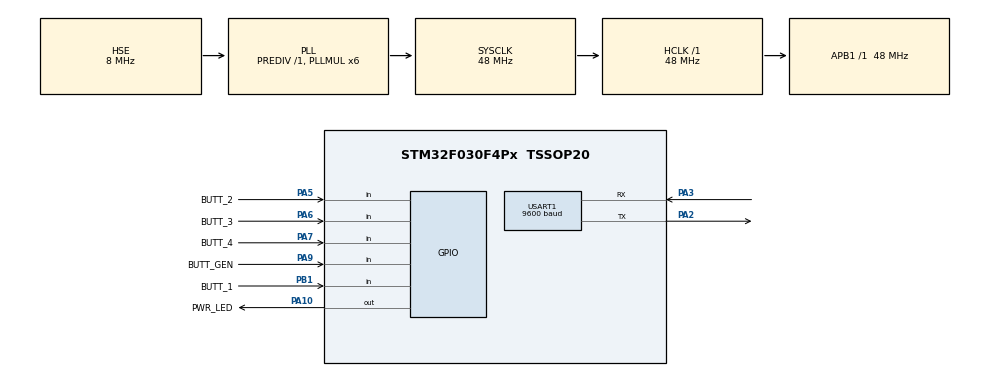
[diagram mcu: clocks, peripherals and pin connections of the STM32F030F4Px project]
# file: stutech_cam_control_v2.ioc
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Mcu.Family=STM32F0
Mcu.Name=STM32F030F4Px
Mcu.Package=TSSOP20
NVIC.TIM17_IRQn=true\:3\:0\:true\:false\:true\:true\:true\:true
NVIC.USART1_IRQn=true\:0\:0\:false\:false\:true\:true\:true\:true
PA10.GPIO_Label=PWR_LED
PA10.Signal=GPIO_Output
PA13.Mode=Serial_Wire
PA13.Signal=SYS_SWDIO
PA14.Mode=Serial_Wire
PA14.Signal=SYS_SWCLK
PA2.Mode=Asynchronous
PA2.Signal=USART1_TX
PA3.Mode=Asynchronous
PA3.Signal=USART1_RX
PA5.GPIO_Label=BUTT_2
PA5.GPIO_PuPd=GPIO_PULLUP
PA5.Signal=GPIO_Input
PA6.GPIO_Label=BUTT_3
PA6.GPIO_PuPd=GPIO_PULLUP
PA6.Signal=GPIO_Input
PA7.GPIO_Label=BUTT_4
PA7.GPIO_PuPd=GPIO_PULLUP
PA7.Signal=GPIO_Input
PA9.GPIO_Label=BUTT_GEN
PA9.GPIO_PuPd=GPIO_PULLUP
PA9.Signal=GPIO_Input
PB1.GPIO_Label=BUTT_1
PB1.GPIO_PuPd=GPIO_PULLUP
PB1.Signal=GPIO_Input
PF0-OSC_IN.Mode=HSE-External-Oscillator
PF0-OSC_IN.Signal=RCC_OSC_IN
PF1-OSC_OUT.Mode=HSE-External-Oscillator
PF1-OSC_OUT.Signal=RCC_OSC_OUT
ProjectManager.HeapSize=0x200
ProjectManager.StackSize=0x400
ProjectManager.TargetToolchain=STM32CubeIDE
RCC.AHBFreq_Value=48000000
RCC.APB1Freq_Value=48000000
RCC.APB1TimFreq_Value=48000000
RCC.HCLKFreq_Value=48000000
RCC.PLLMUL=RCC_PLL_MUL6
RCC.PLLSourceVirtual=RCC_PLLSOURCE_HSE
RCC.SYSCLKFreq_VALUE=48000000
RCC.SYSCLKSource=RCC_SYSCLKSOURCE_PLLCLK
TIM17.AutoReloadPreload=TIM_AUTORELOAD_PRELOAD_ENABLE
TIM17.ClockDivision=TIM_CLOCKDIVISION_DIV1
TIM17.Period=4469
TIM17.Prescaler=10
USART1.BaudRate=9600
USART1.VirtualMode-Asynchronous=VM_ASYNC
VP_TIM17_VS_ClockSourceINT.Mode=Enable_Timer
board=custom

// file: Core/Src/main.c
/* USER CODE BEGIN Header */
					/**
						******************************************************************************
						* @file					 : main.c
						* @brief					: Main program body
						******************************************************************************
						* @attention
						*
						* <h2><center>&copy; Copyright (c) 2020 STMicroelectronics.
						* All rights reserved.</center></h2>
						*
						* This software component is licensed by ST under BSD 3-Clause license,
						* the "License"; You may not use this file except in compliance with the
						* License. You may obtain a copy of the License at:
						*												opensource.org/licenses/BSD-3-Clause
						*
						******************************************************************************
						*/
/* USER CODE END Header */
#include "main.h"

/* USER CODE BEGIN Includes */
#include <string.h>
/* USER CODE END Includes */

TIM_HandleTypeDef htim17;

UART_HandleTypeDef huart1;

/* USER CODE BEGIN PV */
					const uint8_t pwron[6] =	{0x81,0x01,0x04,0x00,0x02,0xFF};//camera power on
					const uint8_t pwroff[6] = {0x81,0x01,0x04,0x00,0x03,0xFF};//camera power off
					const uint8_t cam1preset[7] = {0x81,0x01,0x04,0x3f,0x02,0x00,0xFF};//camera mem recall 01
					const uint8_t cam2preset[7] = {0x81,0x01,0x04,0x3f,0x02,0x01,0xFF};//camera mem recall 02
					const uint8_t cam3preset[7] = {0x81,0x01,0x04,0x3f,0x02,0x02,0xFF};//camera mem recall 03
					const uint8_t cam4preset[7] = {0x81,0x01,0x04,0x3f,0x02,0x03,0xFF};//camera mem recall 04
					const uint8_t autotrackon[7] = {0x81,0x01,0x0B,0x00,0x00,0x02,0xFF};//auto tracking on
					const uint8_t autotrackoff[7] = {0x81,0x01,0x0B,0x00,0x00,0x03,0xFF};//auto tracking off
					const uint8_t powerinquiry[5] = {0x81,0x09,0x04,0x00,0xFF};//camera mem recall 04
					int actgomb[5];
					int lastgomb[5];
					int prelltime = 10;
					int prelltimer = 0;
					uint8_t gomb0prell;
					uint8_t gomb3prell;
					uint8_t uartbuff[20];
					uint8_t uartbuf;
					uint8_t uartcount= 0;
					uint8_t ackflag,cpltflag,poweronflag,poweroffflag = 0;
					uint8_t villtimer = 0;
					int gomb0hosszutime,gomb4hosszutime = 0;
					int pwrtime = 0;
					uint8_t firston = 1;
/* USER CODE END PV */

void SystemClock_Config(void);
static void MX_GPIO_Init(void);
static void MX_USART1_UART_Init(void);
static void MX_TIM17_Init(void);
/* USER CODE BEGIN PFP */
					void readgomb(void);
/* USER CODE END PFP */

/* USER CODE BEGIN 0 */
					void readgomb(void)
					{
						actgomb[0] = HAL_GPIO_ReadPin(BUTT_1_GPIO_Port,BUTT_1_Pin);
						actgomb[1] = HAL_GPIO_ReadPin(BUTT_2_GPIO_Port,BUTT_2_Pin);
						actgomb[2] = HAL_GPIO_ReadPin(BUTT_3_GPIO_Port,BUTT_3_Pin);
						actgomb[3] = HAL_GPIO_ReadPin(BUTT_4_GPIO_Port,BUTT_4_Pin);
						actgomb[4] = HAL_GPIO_ReadPin(BUTT_GEN_GPIO_Port,BUTT_GEN_Pin);
					}
/* USER CODE END 0 */

int main(void)
{

  /* MCU Configuration--------------------------------------------------------*/

  /* Reset of all peripherals, Initializes the Flash interface and the Systick. */
  HAL_Init();

  /* Configure the system clock */
  SystemClock_Config();

  /* Initialize all configured peripherals */
  MX_GPIO_Init();
  MX_USART1_UART_Init();
  MX_TIM17_Init();
  /* USER CODE BEGIN 2 */
						HAL_TIM_Base_Start_IT(&htim17);
						HAL_UART_Receive_IT(&huart1,&uartbuf,1);
						readgomb();
						lastgomb[0] = actgomb[0];
						lastgomb[1] = actgomb[1];
						lastgomb[2] = actgomb[2];
						lastgomb[3] = actgomb[3];
						lastgomb[4] = actgomb[4];

						//bekapcs villogas
						HAL_GPIO_WritePin(PWR_LED_GPIO_Port,PWR_LED_Pin,GPIO_PIN_SET);
						HAL_Delay(200);
						HAL_GPIO_WritePin(PWR_LED_GPIO_Port,PWR_LED_Pin,GPIO_PIN_RESET);
						HAL_Delay(200);
						HAL_GPIO_WritePin(PWR_LED_GPIO_Port,PWR_LED_Pin,GPIO_PIN_SET);
						HAL_Delay(200);
						HAL_GPIO_WritePin(PWR_LED_GPIO_Port,PWR_LED_Pin,GPIO_PIN_RESET);
						HAL_Delay(200);
						HAL_GPIO_WritePin(PWR_LED_GPIO_Port,PWR_LED_Pin,GPIO_PIN_SET);
						HAL_Delay(200);
						HAL_GPIO_WritePin(PWR_LED_GPIO_Port,PWR_LED_Pin,GPIO_PIN_RESET);
  /* USER CODE END 2 */

  /* Infinite loop */
  /* USER CODE BEGIN WHILE */
						while (1)
						{
							if((poweronflag == 1)&&(villtimer == 0))
							{
								HAL_GPIO_WritePin(PWR_LED_GPIO_Port,PWR_LED_Pin,GPIO_PIN_SET);
								if(firston == 1)
								{
									HAL_UART_Transmit(&huart1,autotrackon,7,100);
									firston = 0;
								}

							}
							if((poweroffflag == 1)&&(villtimer == 0))
							{
							HAL_GPIO_WritePin(PWR_LED_GPIO_Port,PWR_LED_Pin,GPIO_PIN_RESET);
							firston = 1;
							}

							readgomb();
							if((lastgomb[0] != actgomb[0])||
								 (lastgomb[1] != actgomb[1])||
								 (lastgomb[2] != actgomb[2])||
								 (lastgomb[3] != actgomb[3])||
								 (lastgomb[4] != actgomb[4]))
									{
										prelltimer = prelltime;
										while(prelltimer >0)
										{
											readgomb();
											if(lastgomb[0] != actgomb[0])
											{
												prelltimer = prelltime;
												lastgomb[0] = actgomb[0];
											}
											if(lastgomb[1] != actgomb[1])
											{
												prelltimer = prelltime;
												lastgomb[1] = actgomb[1];
											}
											if(lastgomb[2] != actgomb[2])
											{
												prelltimer = prelltime;
												lastgomb[2] = actgomb[2];
											}
											if(lastgomb[3] != actgomb[3])
											{
												prelltimer = prelltime;
												lastgomb[3] = actgomb[3];
											}
											if(lastgomb[4] != actgomb[4])
											{
												prelltimer = prelltime;
												lastgomb[4] = actgomb[4];
											}

										}
											if(lastgomb[0] == 0)//gomb1
											{
												HAL_UART_Transmit(&huart1,autotrackoff,7,100);
												HAL_UART_Transmit(&huart1,cam2preset,7,100);
												HAL_UART_Transmit(&huart1,powerinquiry,5,100);
												villtimer = 200;
											}
											if(lastgomb[1] == 0)//gomb2
											{
												HAL_UART_Transmit(&huart1,cam3preset,7,100);
												HAL_UART_Transmit(&huart1,powerinquiry,5,100);
												villtimer = 200;
											}
											if(lastgomb[2] == 0)//gomb3
											{
												HAL_UART_Transmit(&huart1,cam4preset,7,100);
												HAL_UART_Transmit(&huart1,powerinquiry,5,100);
												villtimer = 200;
											}
											if(lastgomb[3] == 0)//gomb4
											{
												HAL_UART_Transmit(&huart1,autotrackon,7,100);
												HAL_UART_Transmit(&huart1,powerinquiry,5,100);
												villtimer = 200;
											}
											if(lastgomb[4] == 0)//powergomb
											{

											}
									}

    /* USER CODE END WHILE */

						}
}

void SystemClock_Config(void)
{
  RCC_OscInitTypeDef RCC_OscInitStruct = {0};
  RCC_ClkInitTypeDef RCC_ClkInitStruct = {0};
  RCC_PeriphCLKInitTypeDef PeriphClkInit = {0};

  /** Initializes the RCC Oscillators according to the specified parameters
  * in the RCC_OscInitTypeDef structure.
  */
  RCC_OscInitStruct.OscillatorType = RCC_OSCILLATORTYPE_HSE;
  RCC_OscInitStruct.HSEState = RCC_HSE_ON;
  RCC_OscInitStruct.PLL.PLLState = RCC_PLL_ON;
  RCC_OscInitStruct.PLL.PLLSource = RCC_PLLSOURCE_HSE;
  RCC_OscInitStruct.PLL.PLLMUL = RCC_PLL_MUL6;
  RCC_OscInitStruct.PLL.PREDIV = RCC_PREDIV_DIV1;
  if (HAL_RCC_OscConfig(&RCC_OscInitStruct) != HAL_OK)
  {
    Error_Handler();
  }

  /** Initializes the CPU, AHB and APB buses clocks
  */
  RCC_ClkInitStruct.ClockType = RCC_CLOCKTYPE_HCLK|RCC_CLOCKTYPE_SYSCLK
                              |RCC_CLOCKTYPE_PCLK1;
  RCC_ClkInitStruct.SYSCLKSource = RCC_SYSCLKSOURCE_PLLCLK;
  RCC_ClkInitStruct.AHBCLKDivider = RCC_SYSCLK_DIV1;
  RCC_ClkInitStruct.APB1CLKDivider = RCC_HCLK_DIV1;

  if (HAL_RCC_ClockConfig(&RCC_ClkInitStruct, FLASH_LATENCY_1) != HAL_OK)
  {
    Error_Handler();
  }
  PeriphClkInit.PeriphClockSelection = RCC_PERIPHCLK_USART1;
  PeriphClkInit.Usart1ClockSelection = RCC_USART1CLKSOURCE_PCLK1;
  if (HAL_RCCEx_PeriphCLKConfig(&PeriphClkInit) != HAL_OK)
  {
    Error_Handler();
  }
}

static void MX_TIM17_Init(void)
{

  htim17.Instance = TIM17;
  htim17.Init.Prescaler = 10;
  htim17.Init.CounterMode = TIM_COUNTERMODE_UP;
  htim17.Init.Period = 4469;
  htim17.Init.ClockDivision = TIM_CLOCKDIVISION_DIV1;
  htim17.Init.RepetitionCounter = 0;
  htim17.Init.AutoReloadPreload = TIM_AUTORELOAD_PRELOAD_ENABLE;
  if (HAL_TIM_Base_Init(&htim17) != HAL_OK)
  {
    Error_Handler();
  }

}

static void MX_USART1_UART_Init(void)
{

  huart1.Instance = USART1;
  huart1.Init.BaudRate = 9600;
  huart1.Init.WordLength = UART_WORDLENGTH_8B;
  huart1.Init.StopBits = UART_STOPBITS_1;
  huart1.Init.Parity = UART_PARITY_NONE;
  huart1.Init.Mode = UART_MODE_TX_RX;
  huart1.Init.HwFlowCtl = UART_HWCONTROL_NONE;
  huart1.Init.OverSampling = UART_OVERSAMPLING_16;
  huart1.Init.OneBitSampling = UART_ONE_BIT_SAMPLE_DISABLE;
  huart1.AdvancedInit.AdvFeatureInit = UART_ADVFEATURE_NO_INIT;
  if (HAL_UART_Init(&huart1) != HAL_OK)
  {
    Error_Handler();
  }

}

static void MX_GPIO_Init(void)
{
  GPIO_InitTypeDef GPIO_InitStruct = {0};

  /* GPIO Ports Clock Enable */
  __HAL_RCC_GPIOF_CLK_ENABLE();
  __HAL_RCC_GPIOA_CLK_ENABLE();
  __HAL_RCC_GPIOB_CLK_ENABLE();

  /*Configure GPIO pin Output Level */
  HAL_GPIO_WritePin(PWR_LED_GPIO_Port, PWR_LED_Pin, GPIO_PIN_RESET);

  /*Configure GPIO pins : BUTT_2_Pin BUTT_3_Pin BUTT_4_Pin BUTT_GEN_Pin */
  GPIO_InitStruct.Pin = BUTT_2_Pin|BUTT_3_Pin|BUTT_4_Pin|BUTT_GEN_Pin;
  GPIO_InitStruct.Mode = GPIO_MODE_INPUT;
  GPIO_InitStruct.Pull = GPIO_PULLUP;
  HAL_GPIO_Init(GPIOA, &GPIO_InitStruct);

  /*Configure GPIO pin : BUTT_1_Pin */
  GPIO_InitStruct.Pin = BUTT_1_Pin;
  GPIO_InitStruct.Mode = GPIO_MODE_INPUT;
  GPIO_InitStruct.Pull = GPIO_PULLUP;
  HAL_GPIO_Init(BUTT_1_GPIO_Port, &GPIO_InitStruct);

  /*Configure GPIO pin : PWR_LED_Pin */
  GPIO_InitStruct.Pin = PWR_LED_Pin;
  GPIO_InitStruct.Mode = GPIO_MODE_OUTPUT_PP;
  GPIO_InitStruct.Pull = GPIO_NOPULL;
  GPIO_InitStruct.Speed = GPIO_SPEED_FREQ_LOW;
  HAL_GPIO_Init(PWR_LED_GPIO_Port, &GPIO_InitStruct);

}

/* USER CODE BEGIN 4 */
					void HAL_TIM_PeriodElapsedCallback(TIM_HandleTypeDef *htim)
					{

					if(prelltimer >0)
					{
						prelltimer--;
					}
					if(villtimer >0)
					{
						villtimer--;
						if(poweronflag == 1)
						{
							HAL_GPIO_WritePin(PWR_LED_GPIO_Port,PWR_LED_Pin,GPIO_PIN_RESET);//led off
							if(villtimer == 0)
							{
								HAL_GPIO_WritePin(PWR_LED_GPIO_Port,PWR_LED_Pin,GPIO_PIN_SET);//led on
							}
						}
						if(poweroffflag == 1)
						{
							HAL_GPIO_WritePin(PWR_LED_GPIO_Port,PWR_LED_Pin,GPIO_PIN_SET);//led on
							if(villtimer == 0)
							{
								HAL_GPIO_WritePin(PWR_LED_GPIO_Port,PWR_LED_Pin,GPIO_PIN_RESET);//led off
							}
						}
					}
					if(actgomb[0] == 0)
					{
						gomb0hosszutime++;
						if(gomb0hosszutime > 3000)
						{
							HAL_UART_Transmit(&huart1,pwron,6,100);
							pwrtime = 100;
							poweronflag = 1;
							poweroffflag = 0;
							gomb0hosszutime = 0;
							HAL_UART_Transmit(&huart1,powerinquiry,5,100);
						}
						else if(actgomb[0] == 1)
						{
							gomb0hosszutime = 0;
						}
					}

					if(actgomb[0] == 1)
					{
						if(gomb0hosszutime >0)
						{
							gomb0prell++;
						}
						if(gomb0prell >50)
						{
							gomb0hosszutime = 0;
							gomb0prell = 0;
						}

					}
					if(actgomb[3] == 0)
					{
						gomb4hosszutime++;
						if(gomb4hosszutime > 3000)
						{
							HAL_UART_Transmit(&huart1,pwroff,6,100);
							pwrtime = 300;
							poweronflag = 0;
							poweroffflag = 1;
							gomb4hosszutime = 0;
							HAL_UART_Transmit(&huart1,powerinquiry,5,100);
						}
						else if(actgomb[3] == 1)
						{
							gomb4hosszutime = 0;
						}
					}
					if(actgomb[3] == 1)
					{
							if(gomb4hosszutime >0)
						{
							gomb3prell++;
						}
						if(gomb3prell >50)
						{
							gomb4hosszutime = 0;
							gomb3prell = 0;
						}
					}

					if(pwrtime >0)
					{
						pwrtime--;
						if((pwrtime == 0)||(pwrtime == 99)||(pwrtime == 150)||(pwrtime == 250))
						{
							HAL_UART_Transmit(&huart1,powerinquiry,5,100);
						}
					}

					}

					void HAL_UART_RxCpltCallback(UART_HandleTypeDef *huart)
					{
						uartbuff[uartcount] = uartbuf;
						uartcount++;
						if(uartcount > 5)
						{
							uartcount = 0;
							memset(uartbuff,0,10);
						}

						if((uartbuff[0] == 0x90)&&(uartbuff[1] == 0x41)&&(uartbuff[2] == 0xFF))
						{
							villtimer = 200;
							uartcount = 0;
							ackflag = 1;
							memset(uartbuff,0,10);
						}else if((uartbuff[0] == 0x90)&&(uartbuff[1] == 0x51)&&(uartbuff[2] == 0xFF))
						{
							villtimer = 200;
							uartcount = 0;
							cpltflag = 1;
							memset(uartbuff,0,10);
						}
						else if((uartbuff[0] == 0x90)&&(uartbuff[1] == 0x50)&&(uartbuff[2] == 0x02)&&(uartbuff[3] == 0xFF))//pwr on
						{
							villtimer = 200;
							uartcount = 0;
							poweronflag = 1;
							poweroffflag = 0;
							memset(uartbuff,0,10);
						}else if((uartbuff[0] == 0x90)&&(uartbuff[1] == 0x50)&&(uartbuff[2] == 0x03)&&(uartbuff[3] == 0xFF))//pwr off
						{
							villtimer = 200;
							uartcount = 0;
							poweroffflag = 1;
							poweronflag = 0;
							memset(uartbuff,0,10);
						}
						HAL_UART_Receive_IT(&huart1,&uartbuf,1);
					}
/* USER CODE END 4 */

void Error_Handler(void)
{
}
